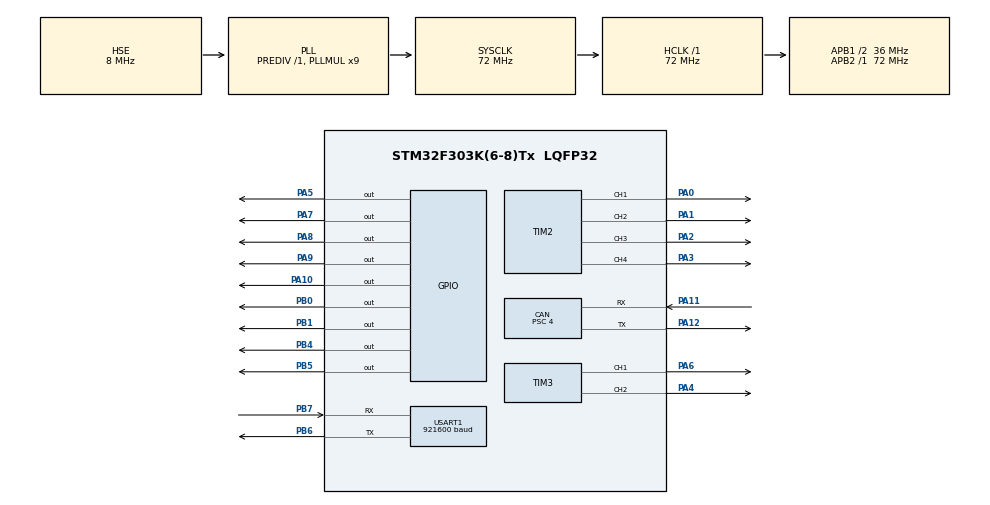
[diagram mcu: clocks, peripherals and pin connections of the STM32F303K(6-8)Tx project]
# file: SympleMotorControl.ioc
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CAN.ABOM=ENABLE
CAN.BS1=CAN_BS1_6TQ
CAN.BS2=CAN_BS2_2TQ
CAN.CalculateTimeQuantum=111.11111111111111
CAN.Prescaler=4
CAN.TXFP=ENABLE
Mcu.Family=STM32F3
Mcu.Name=STM32F303K(6-8)Tx
Mcu.Package=LQFP32
NVIC.CAN_RX0_IRQn=true\:0\:0\:false\:false\:true\:true\:true
NVIC.CAN_RX1_IRQn=true\:0\:0\:false\:false\:true\:true\:true
NVIC.CAN_SCE_IRQn=true\:0\:0\:false\:false\:true\:true\:true
NVIC.PriorityGroup=NVIC_PRIORITYGROUP_4
PA0.Signal=S_TIM2_CH1_ETR
PA1.Signal=S_TIM2_CH2
PA10.Signal=GPIO_Output
PA11.Mode=Master
PA11.Signal=CAN_RX
PA12.Mode=Master
PA12.Signal=CAN_TX
PA13.GPIO_Label=SWDIO
PA13.Mode=Serial_Wire
PA13.Signal=SYS_JTMS-SWDIO
PA14.GPIO_Label=SWCLK
PA14.Mode=Serial_Wire
PA14.Signal=SYS_JTCK-SWCLK
PA15.Signal=SYS_JTDI
PA2.Signal=S_TIM2_CH3
PA3.Signal=S_TIM2_CH4
PA4.Signal=S_TIM3_CH2
PA5.Signal=GPIO_Output
PA6.Signal=S_TIM3_CH1
PA7.Signal=GPIO_Output
PA8.Signal=GPIO_Output
PA9.Signal=GPIO_Output
PB0.Signal=GPIO_Output
PB1.Signal=GPIO_Output
PB3.Signal=SYS_JTDO-TRACESWO
PB4.Signal=GPIO_Output
PB5.Signal=GPIO_Output
PB6.Mode=Asynchronous
PB6.Signal=USART1_TX
PB7.Mode=Asynchronous
PB7.Signal=USART1_RX
PF0\ /\ OSC_IN.Mode=HSE-External-Oscillator
PF0\ /\ OSC_IN.Signal=RCC_OSC_IN
PF1\ /\ OSC_OUT.Mode=HSE-External-Oscillator
PF1\ /\ OSC_OUT.Signal=RCC_OSC_OUT
ProjectManager.HeapSize=0x200
ProjectManager.StackSize=0x400
ProjectManager.TargetToolchain=STM32CubeIDE
RCC.AHBFreq_Value=72000000
RCC.APB1CLKDivider=RCC_HCLK_DIV2
RCC.APB1Freq_Value=36000000
RCC.APB1TimFreq_Value=72000000
RCC.APB2Freq_Value=72000000
RCC.APB2TimFreq_Value=72000000
RCC.CortexFreq_Value=72000000
RCC.HCLKFreq_Value=72000000
RCC.HSE_VALUE=8000000
RCC.HSI_VALUE=8000000
RCC.PLLMUL=RCC_PLL_MUL9
RCC.PLLSourceVirtual=RCC_PLLSOURCE_HSE
RCC.SYSCLKFreq_VALUE=72000000
RCC.SYSCLKSourceVirtual=RCC_SYSCLKSOURCE_PLLCLK
SH.S_TIM2_CH1_ETR.0=TIM2_CH1,PWM Generation1 CH1
SH.S_TIM2_CH2.0=TIM2_CH2,PWM Generation2 CH2
SH.S_TIM2_CH3.0=TIM2_CH3,PWM Generation3 CH3
SH.S_TIM2_CH4.0=TIM2_CH4,PWM Generation4 CH4
SH.S_TIM3_CH1.0=TIM3_CH1,PWM Generation1 CH1
SH.S_TIM3_CH2.0=TIM3_CH2,PWM Generation2 CH2
TIM2.Channel-PWM\ Generation1\ CH1=TIM_CHANNEL_1
TIM2.Channel-PWM\ Generation2\ CH2=TIM_CHANNEL_2
TIM2.Channel-PWM\ Generation3\ CH3=TIM_CHANNEL_3
TIM2.Channel-PWM\ Generation4\ CH4=TIM_CHANNEL_4
TIM3.Channel-PWM\ Generation1\ CH1=TIM_CHANNEL_1
TIM3.Channel-PWM\ Generation2\ CH2=TIM_CHANNEL_2
USART1.BaudRate=921600
USART1.VirtualMode-Asynchronous=VM_ASYNC
board=NUCLEO-F303K8

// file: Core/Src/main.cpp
/* USER CODE BEGIN Header */
/**
  ******************************************************************************
  * @file           : main.c
  * @brief          : Main program body
  ******************************************************************************
  * @attention
  *
  * <h2><center>&copy; Copyright (c) 2019 STMicroelectronics.
  * All rights reserved.</center></h2>
  *
  * This software component is licensed by ST under BSD 3-Clause license,
  * the "License"; You may not use this file except in compliance with the
  * License. You may obtain a copy of the License at:
  *                        opensource.org/licenses/BSD-3-Clause
  *
  ******************************************************************************
  */
/* USER CODE END Header */

#include "main.h"
#include "can.h"
#include "tim.h"
#include "usart.h"
#include "gpio.h"

/* USER CODE BEGIN Includes */

#include "LowlayerHandel.hpp"
#include "Application/Application.hpp"
/* USER CODE END Includes */

/* USER CODE BEGIN PD */
extern void FilterConfig();
/* USER CODE END PD */

/* USER CODE BEGIN PM */
//#define TOGGLE_TX_LED HAL_GPIO_TogglePin(GPIOB,GPIO_PIN_6);
#define TOGGLE_RX_LED  HAL_GPIO_TogglePin(GPIOB,GPIO_PIN_7);
/* USER CODE END PM */

void SystemClock_Config(void);

/* USER CODE BEGIN 0 */
#define RUN
//#define DEBUG
/* USER CODE END 0 */

int main(void)
{
  /* USER CODE BEGIN 1 */
	// setbuf(stdout, NULL);
  /* USER CODE END 1 */

  /* MCU Configuration--------------------------------------------------------*/

  /* Reset of all peripherals, Initializes the Flash interface and the Systick. */
  HAL_Init();

  /* Configure the system clock */
  SystemClock_Config();

  /* Initialize all configured peripherals */
  MX_GPIO_Init();
  MX_CAN_Init();
  MX_TIM2_Init();
  MX_TIM3_Init();
  MX_USART1_UART_Init();
  /* USER CODE BEGIN 2 */

  LowlayerHandelTypedef hlow;

  hlow.M1.SetFrequency(25000);
  hlow.M2.SetFrequency(25000);
  hlow.M3.SetFrequency(25000);
  hlow.M4.SetFrequency(25000);
  hlow.BL1.SetFrequency(40000);
  hlow.BL2.SetFrequency(40000);
  HAL_Delay(100);

  hlow.M1.Begin();
  hlow.M2.Begin();
  hlow.M3.Begin();
  hlow.M4.Begin();
  hlow.BL1.Begin();
  hlow.BL2.Begin();

  App app(&hlow);
  FilterConfig();
  //TOGGLE_RX_LED;
  /* USER CODE END 2 */

  /* Infinite loop */
  while (1)
  {

    /* USER CODE BEGIN 3 */
#ifdef RUN
	  app.TaskShift();
#endif
#ifdef DEBUG
	  hlow.DebugMotor(1,-90);
	//  HAL_Delay(500);
//	  hlow.DebugMotor(2,30);
//	  HAL_Delay(500);

//
//		  for(int j=0;j>100;j++)
//		  {
//			  hlow.DebugMotor(2,j);
//			  HAL_Delay(100);
//		  }
//
//
//	 		  for(int j=100;j<0;j--)
//	 		  {
//	 			  hlow.DebugMotor(2,j);
//	 			  HAL_Delay(100);
//	 		  }

#endif
//	 hlow.DebugMotor(1, 20);
//	 hlow.DebugMotor(2, 20);
//	 hlow.DebugMotor(3, 20);

	  //hlow.LedCheck();
  }
  /* USER CODE END 3 */
}

void SystemClock_Config(void)
{
  RCC_OscInitTypeDef RCC_OscInitStruct = {0};
  RCC_ClkInitTypeDef RCC_ClkInitStruct = {0};
  RCC_PeriphCLKInitTypeDef PeriphClkInit = {0};

  /** Initializes the CPU, AHB and APB busses clocks
  */
  RCC_OscInitStruct.OscillatorType = RCC_OSCILLATORTYPE_HSE;
  RCC_OscInitStruct.HSEState = RCC_HSE_ON;
  RCC_OscInitStruct.HSEPredivValue = RCC_HSE_PREDIV_DIV1;
  RCC_OscInitStruct.HSIState = RCC_HSI_ON;
  RCC_OscInitStruct.PLL.PLLState = RCC_PLL_ON;
  RCC_OscInitStruct.PLL.PLLSource = RCC_PLLSOURCE_HSE;
  RCC_OscInitStruct.PLL.PLLMUL = RCC_PLL_MUL9;
  if (HAL_RCC_OscConfig(&RCC_OscInitStruct) != HAL_OK)
  {
    Error_Handler();
  }
  /** Initializes the CPU, AHB and APB busses clocks
  */
  RCC_ClkInitStruct.ClockType = RCC_CLOCKTYPE_HCLK|RCC_CLOCKTYPE_SYSCLK
                              |RCC_CLOCKTYPE_PCLK1|RCC_CLOCKTYPE_PCLK2;
  RCC_ClkInitStruct.SYSCLKSource = RCC_SYSCLKSOURCE_PLLCLK;
  RCC_ClkInitStruct.AHBCLKDivider = RCC_SYSCLK_DIV1;
  RCC_ClkInitStruct.APB1CLKDivider = RCC_HCLK_DIV2;
  RCC_ClkInitStruct.APB2CLKDivider = RCC_HCLK_DIV1;

  if (HAL_RCC_ClockConfig(&RCC_ClkInitStruct, FLASH_LATENCY_2) != HAL_OK)
  {
    Error_Handler();
  }
  PeriphClkInit.PeriphClockSelection = RCC_PERIPHCLK_USART1|RCC_PERIPHCLK_TIM1;
  PeriphClkInit.Usart1ClockSelection = RCC_USART1CLKSOURCE_PCLK1;
  PeriphClkInit.Tim1ClockSelection = RCC_TIM1CLK_HCLK;
  if (HAL_RCCEx_PeriphCLKConfig(&PeriphClkInit) != HAL_OK)
  {
    Error_Handler();
  }
}

void Error_Handler(void)
{
}

/************************ (C) COPYRIGHT STMicroelectronics *****END OF FILE****/
